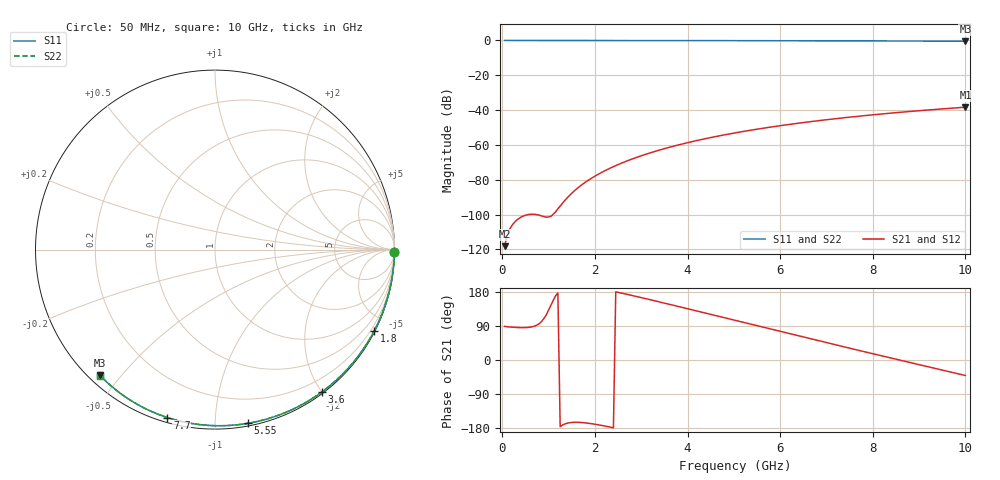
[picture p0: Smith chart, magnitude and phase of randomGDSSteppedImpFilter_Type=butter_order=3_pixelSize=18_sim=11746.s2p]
! freq	dB(S11)	phase(S11)	dB(S12)	phase(S12)
!  dB(S21)	phase(S21)	dB(S22)	phase(S22)
!S-par simulation data
#  GHz  S  DB  R 50
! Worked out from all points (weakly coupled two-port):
!   200 points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, 50 MHz to 10 GHz, reference 50 ohm
!   highest |S21| = -38.34 dB at 10 GHz (marker M1); lowest = -118.2 dB at 50 MHz (marker M2)
!   lowest |S11| = -0.4 dB at 10 GHz (marker M3), VSWR 38.80, Z = 1.54 - j22 ohm
!   |S11| at or under -10 dB: nowhere
!   |S22| runs from -0.4 to 0.0 dB; largest |S21 - S12| = 0
!   S11 on the Smith chart (normalised r, x): 50 MHz: open; 1.8 GHz: 0.04, -4.14; 3.6 GHz: 0.02, -2.00; 5.55 GHz: 0.02, -1.21; 7.7 GHz: 0.02, -0.76; 10 GHz: 0.03, -0.44
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0.05  -0.00 -0.8  -118.15 88.6  -118.15 88.6  -0.00 -0.8
0.9  -0.02 -13.7  -101.20 109.9  -101.20 109.9  -0.02 -13.7
1.75  -0.03 -26.4  -82.25 -165.3  -82.25 -165.3  -0.03 -26.4
1.8  -0.03 -27.1  -81.31 -166.0  -81.31 -166.0  -0.03 -27.1
1.85  -0.04 -27.9  -80.41 -166.7  -80.41 -166.7  -0.04 -27.9
1.9  -0.04 -28.6  -79.55 -167.6  -79.55 -167.6  -0.04 -28.6
2.05  -0.04 -30.8  -77.17 -170.5  -77.17 -170.5  -0.04 -30.8
2.25  -0.04 -33.8  -74.36 -175.1  -74.36 -175.1  -0.04 -33.8
2.45  -0.05 -36.7  -71.87 179.9  -71.87 179.9  -0.05 -36.7
2.65  -0.05 -39.6  -69.65 174.5  -69.65 174.5  -0.05 -39.6
3  -0.06 -44.6  -66.24 164.7  -66.24 164.7  -0.06 -44.6
3.4  -0.07 -50.3  -62.90 153.1  -62.90 153.1  -0.07 -50.3
3.6  -0.07 -53.1  -61.41 147.2  -61.41 147.2  -0.07 -53.1
4.3  -0.09 -62.7  -56.90 126.3  -56.90 126.3  -0.09 -62.7
5.05  -0.11 -72.7  -52.98 103.8  -52.98 103.8  -0.11 -72.7
5.55  -0.13 -79.2  -50.75 88.8  -50.75 88.8  -0.13 -79.2
6.1  -0.15 -86.3  -48.58 72.4  -48.58 72.4  -0.15 -86.2
6.7  -0.18 -93.7  -46.48 54.6  -46.48 54.6  -0.18 -93.7
7.7  -0.24 -105.8  -43.50 25.3  -43.50 25.3  -0.24 -105.8
8.35  -0.29 -113.5  -41.83 6.4  -41.83 6.4  -0.29 -113.4
9.15  -0.36 -122.7  -40.02 -16.6  -40.02 -16.6  -0.36 -122.6
10  -0.45 -132.4  -38.34 -40.9  -38.34 -40.9  -0.45 -132.3
